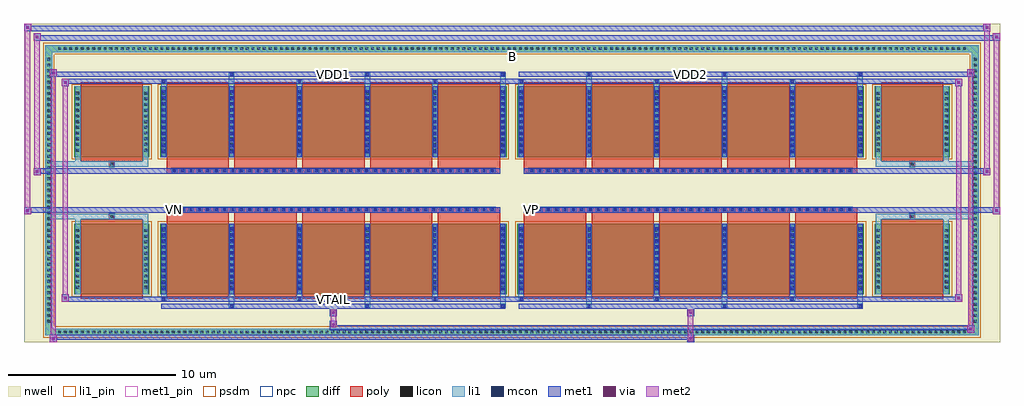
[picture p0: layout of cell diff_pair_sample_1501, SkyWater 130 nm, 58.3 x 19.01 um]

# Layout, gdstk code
import gdstk
lib = gdstk.Library(unit=1e-6, precision=5e-09)
def R(c, l, rs):  # rectangles x0, y0, x1, y1
    for r in rs: c.add(gdstk.rectangle(r[:2], r[2:], *l))
def A(c, l, x, y, w, h, nx, ny, dx, dy):  # array of equal rectangles
    R(c, l, [(x+i*dx, y+j*dy, x+i*dx+w, y+j*dy+h) for i in range(nx) for j in range(ny)])
def P(c, l, *ps):  # polygons
    for p in ps: c.add(gdstk.Polygon(p, *l))
nwell = (64, 20)
diff = (65, 20)
poly = (66, 20)
licon = (66, 44)
li1_pin = (67, 16)
li1 = (67, 20)
mcon = (67, 44)
met1_pin = (68, 16)
met1 = (68, 20)
via = (68, 44)
met2 = (69, 20)
psdm = (94, 20)
npc = (95, 20)

diff_pair_sample_1501 = lib.new_cell('diff_pair_sample_1501')
R(diff_pair_sample_1501, nwell, [(-29.15,-9.07,29.15,9.94), (-26.47,-7.26,-0.01,-0.8), (0.01,-7.26,26.47,-0.8), (-26.47,0.8,-0.01,7.26), (0.01,0.8,26.47,7.26)])
A(diff_pair_sample_1501, diff, -27.235, -8.67, 0.41, 0.41, 160, 2, 0.34, 16.93)
A(diff_pair_sample_1501, diff, -27.88, -8.025, 0.41, 0.41, 1, 47, 0, 0.34)
A(diff_pair_sample_1501, diff, 27.47, -8.025, 0.41, 0.41, 1, 47, 0, 0.34)
R(diff_pair_sample_1501, diff, [(-27.235,-8.67,27.235,-8.26), (-27.88,-8.025,-27.47,8.025), (27.47,-8.025,27.88,8.025), (-26.16,-6.215,-21.66,-1.985), (-21.02,-6.215,-0.32,-1.985), (0.32,-6.215,21.02,-1.985), (21.66,-6.215,26.16,-1.985), (-26.16,1.985,-21.66,6.215), (-21.02,1.985,-0.32,6.215), (0.32,1.985,21.02,6.215), (21.66,1.985,26.16,6.215), (-27.235,8.26,27.235,8.67)])
P(diff_pair_sample_1501, diff, [(27.88,8.67),(-27.88,8.67),(-27.88,-8.26),(-27.47,-8.26),(-27.47,8.26),(27.47,8.26),(27.47,-8.26),(-27.47,-8.26),(-27.88,-8.26),(-27.88,-8.67),(27.88,-8.67)])
A(diff_pair_sample_1501, poly, -20.63, -6.465, 3.72, 4.73, 5, 2, 4.05, 8.2)
A(diff_pair_sample_1501, poly, 0.71, -6.465, 3.72, 4.73, 5, 2, 4.05, 8.2)
A(diff_pair_sample_1501, poly, -20.63, -1.735, 3.72, 0.405, 5, 2, 4.05, 3.065)
A(diff_pair_sample_1501, poly, 0.71, -1.735, 3.72, 0.405, 5, 2, 4.05, 3.065)
A(diff_pair_sample_1501, poly, -20.335, -1.33, 0.33, 0.33, 39, 2, 0.5, 2.33)
A(diff_pair_sample_1501, poly, 1.005, -1.33, 0.33, 0.33, 39, 2, 0.5, 2.33)
R(diff_pair_sample_1501, poly, [(-25.77,-6.465,-22.05,-1.735), (22.05,-6.465,25.77,-1.735), (-24.075,-1.735,-23.745,-1.405), (-24.075,-1.735,-23.745,-1.405), (23.745,-1.735,24.075,-1.405), (23.745,-1.735,24.075,-1.405), (-20.63,-1.33,-0.71,-1), (0.71,-1.33,20.63,-1), (-20.63,1,-0.71,1.33), (0.71,1,20.63,1.33), (-24.075,1.405,-23.745,1.735), (-24.075,1.405,-23.745,1.735), (23.745,1.405,24.075,1.735), (23.745,1.405,24.075,1.735), (-25.77,1.735,-22.05,6.465), (22.05,1.735,25.77,6.465)])
A(diff_pair_sample_1501, licon, -27.115, -8.55, 0.17, 0.17, 160, 2, 0.34, 16.93)
A(diff_pair_sample_1501, licon, -27.76, -7.905, 0.17, 0.17, 1, 47, 0, 0.34)
A(diff_pair_sample_1501, licon, 27.59, -7.905, 0.17, 0.17, 1, 47, 0, 0.34)
A(diff_pair_sample_1501, licon, -26.02, -5.885, 0.17, 0.17, 1, 11, 0, 0.34)
A(diff_pair_sample_1501, licon, -21.97, -5.885, 0.17, 0.17, 1, 11, 0, 0.34)
A(diff_pair_sample_1501, licon, -20.88, -5.885, 0.17, 0.17, 6, 11, 4.05, 0.34)
A(diff_pair_sample_1501, licon, 0.46, -5.885, 0.17, 0.17, 6, 11, 4.05, 0.34)
A(diff_pair_sample_1501, licon, 21.8, -5.885, 0.17, 0.17, 1, 11, 0, 0.34)
A(diff_pair_sample_1501, licon, 25.85, -5.885, 0.17, 0.17, 1, 11, 0, 0.34)
A(diff_pair_sample_1501, licon, -20.255, -1.25, 0.17, 0.17, 39, 2, 0.5, 2.33)
A(diff_pair_sample_1501, licon, 1.085, -1.25, 0.17, 0.17, 39, 2, 0.5, 2.33)
A(diff_pair_sample_1501, licon, -26.02, 2.315, 0.17, 0.17, 1, 11, 0, 0.34)
A(diff_pair_sample_1501, licon, -21.97, 2.315, 0.17, 0.17, 1, 11, 0, 0.34)
A(diff_pair_sample_1501, licon, -20.88, 2.315, 0.17, 0.17, 6, 11, 4.05, 0.34)
A(diff_pair_sample_1501, licon, 0.46, 2.315, 0.17, 0.17, 6, 11, 4.05, 0.34)
A(diff_pair_sample_1501, licon, 21.8, 2.315, 0.17, 0.17, 1, 11, 0, 0.34)
A(diff_pair_sample_1501, licon, 25.85, 2.315, 0.17, 0.17, 1, 11, 0, 0.34)
R(diff_pair_sample_1501, licon, [(-23.995,-1.655,-23.825,-1.485), (23.825,-1.655,23.995,-1.485), (-23.995,1.485,-23.825,1.655), (23.825,1.485,23.995,1.655)])
R(diff_pair_sample_1501, li1_pin, [(-0.25,7.76,0.25,8.26)])
A(diff_pair_sample_1501, li1, -27.195, -8.63, 0.33, 0.33, 160, 2, 0.34, 16.93)
A(diff_pair_sample_1501, li1, -27.84, -7.985, 0.33, 0.33, 1, 47, 0, 0.34)
A(diff_pair_sample_1501, li1, 27.51, -7.985, 0.33, 0.33, 1, 47, 0, 0.34)
A(diff_pair_sample_1501, li1, -16.91, -7.02, 0.33, 0.805, 3, 2, 8.1, 13.235)
A(diff_pair_sample_1501, li1, -16.83, -7.02, 0.17, 0.17, 3, 2, 8.1, 13.87)
A(diff_pair_sample_1501, li1, 4.43, -7.02, 0.33, 0.805, 3, 2, 8.1, 13.235)
A(diff_pair_sample_1501, li1, 4.51, -7.02, 0.17, 0.17, 3, 2, 8.1, 13.87)
A(diff_pair_sample_1501, li1, -20.96, -6.59, 0.33, 0.375, 3, 2, 8.1, 12.805)
A(diff_pair_sample_1501, li1, -20.88, -6.59, 0.17, 0.17, 3, 2, 8.1, 13.01)
A(diff_pair_sample_1501, li1, 0.38, -6.59, 0.33, 0.375, 3, 2, 8.1, 12.805)
A(diff_pair_sample_1501, li1, 0.46, -6.59, 0.17, 0.17, 3, 2, 8.1, 13.01)
A(diff_pair_sample_1501, li1, -20.96, -6.215, 0.33, 4.23, 6, 2, 4.05, 8.2)
A(diff_pair_sample_1501, li1, 0.38, -6.215, 0.33, 4.23, 6, 2, 4.05, 8.2)
A(diff_pair_sample_1501, li1, -20.88, -5.985, 0.17, 0.17, 6, 11, 4.05, 0.36)
A(diff_pair_sample_1501, li1, -20.88, -5.985, 0.17, 3.77, 6, 2, 4.05, 8.2)
A(diff_pair_sample_1501, li1, 0.46, -5.985, 0.17, 0.17, 6, 11, 4.05, 0.36)
A(diff_pair_sample_1501, li1, 0.46, -5.985, 0.17, 3.77, 6, 2, 4.05, 8.2)
A(diff_pair_sample_1501, li1, -26.1, -5.965, 0.33, 0.33, 1, 11, 0, 0.34)
A(diff_pair_sample_1501, li1, -22.05, -5.965, 0.33, 0.33, 1, 11, 0, 0.34)
A(diff_pair_sample_1501, li1, -20.96, -5.965, 0.33, 0.33, 6, 11, 4.05, 0.34)
A(diff_pair_sample_1501, li1, 0.38, -5.965, 0.33, 0.33, 6, 11, 4.05, 0.34)
A(diff_pair_sample_1501, li1, 21.72, -5.965, 0.33, 0.33, 1, 11, 0, 0.34)
A(diff_pair_sample_1501, li1, 25.77, -5.965, 0.33, 0.33, 1, 11, 0, 0.34)
A(diff_pair_sample_1501, li1, -20.335, -1.33, 0.33, 0.33, 39, 2, 0.5, 2.33)
A(diff_pair_sample_1501, li1, 1.005, -1.33, 0.33, 0.33, 39, 2, 0.5, 2.33)
A(diff_pair_sample_1501, li1, -20.88, 2.215, 0.17, 0.17, 6, 11, 4.05, 0.36)
A(diff_pair_sample_1501, li1, 0.46, 2.215, 0.17, 0.17, 6, 11, 4.05, 0.36)
A(diff_pair_sample_1501, li1, -26.1, 2.235, 0.33, 0.33, 1, 11, 0, 0.34)
A(diff_pair_sample_1501, li1, -22.05, 2.235, 0.33, 0.33, 1, 11, 0, 0.34)
A(diff_pair_sample_1501, li1, -20.96, 2.235, 0.33, 0.33, 6, 11, 4.05, 0.34)
A(diff_pair_sample_1501, li1, 0.38, 2.235, 0.33, 0.33, 6, 11, 4.05, 0.34)
A(diff_pair_sample_1501, li1, 21.72, 2.235, 0.33, 0.33, 1, 11, 0, 0.34)
A(diff_pair_sample_1501, li1, 25.77, 2.235, 0.33, 0.33, 1, 11, 0, 0.34)
R(diff_pair_sample_1501, li1, [(-27.88,-8.67,-27.47,-8.26), (-27.88,-8.67,-27.47,-8.26), (-27.47,-8.67,27.47,-8.26), (27.47,-8.67,27.88,-8.26), (27.47,-8.67,27.88,-8.26), (-27.88,-8.26,-27.47,8.26), (27.47,-8.26,27.88,8.26), (-26.1,-6.215,-25.77,-1.985), (-22.05,-6.215,-21.72,-1.985), (21.72,-6.215,22.05,-1.985), (25.77,-6.215,26.1,-1.985), (-26.1,-1.985,-25.77,-1.405), (-22.05,-1.985,-21.72,-1.405), (21.72,-1.985,22.05,-1.405), (25.77,-1.985,26.1,-1.405), (-27.88,-1.735,-24.075,-1.405), (-26.1,-1.735,-24.075,-1.405), (-24.075,-1.735,-23.745,-1.405), (-23.745,-1.735,-21.72,-1.405), (21.72,-1.735,23.745,-1.405), (23.745,-1.735,24.075,-1.405), (23.745,-1.735,27.88,-1.405), (24.075,-1.735,26.1,-1.405), (-27.88,1.405,-24.075,1.735), (-26.1,1.405,-24.075,1.735), (-26.1,1.405,-25.77,1.985), (-24.075,1.405,-23.745,1.735), (-23.745,1.405,-21.72,1.735), (-22.05,1.405,-21.72,1.985), (21.72,1.405,23.745,1.735), (21.72,1.405,22.05,1.985), (23.745,1.405,24.075,1.735), (23.745,1.405,27.88,1.735), (24.075,1.405,26.1,1.735), (25.77,1.405,26.1,1.985), (-26.1,1.985,-25.77,6.215), (-22.05,1.985,-21.72,6.215), (21.72,1.985,22.05,6.215), (25.77,1.985,26.1,6.215), (-27.88,8.26,-27.47,8.67), (-27.88,8.26,-27.47,8.67), (-27.47,8.26,27.47,8.67), (27.47,8.26,27.88,8.67), (27.47,8.26,27.88,8.67)])
A(diff_pair_sample_1501, mcon, -16.83, -7.02, 0.17, 0.17, 3, 2, 8.1, 13.87)
A(diff_pair_sample_1501, mcon, 4.51, -7.02, 0.17, 0.17, 3, 2, 8.1, 13.87)
A(diff_pair_sample_1501, mcon, -20.88, -6.59, 0.17, 0.17, 3, 2, 8.1, 13.01)
A(diff_pair_sample_1501, mcon, 0.46, -6.59, 0.17, 0.17, 3, 2, 8.1, 13.01)
A(diff_pair_sample_1501, mcon, -20.88, -5.985, 0.17, 0.17, 6, 11, 4.05, 0.36)
A(diff_pair_sample_1501, mcon, 0.46, -5.985, 0.17, 0.17, 6, 11, 4.05, 0.36)
A(diff_pair_sample_1501, mcon, -20.255, -1.25, 0.17, 0.17, 39, 2, 0.5, 2.33)
A(diff_pair_sample_1501, mcon, 1.085, -1.25, 0.17, 0.17, 39, 2, 0.5, 2.33)
A(diff_pair_sample_1501, mcon, -20.88, 2.215, 0.17, 0.17, 6, 11, 4.05, 0.36)
A(diff_pair_sample_1501, mcon, 0.46, 2.215, 0.17, 0.17, 6, 11, 4.05, 0.36)
R(diff_pair_sample_1501, met1_pin, [(-10.805,-6.63,-10.535,-6.36), (-20.305,-1.29,-20.035,-1.02), (1.035,-1.29,1.305,-1.02), (-10.805,6.81,-10.535,7.08), (10.535,6.81,10.805,7.08)])
A(diff_pair_sample_1501, met1, -16.89, -7.08, 0.29, 0.29, 3, 2, 8.1, 13.87)
A(diff_pair_sample_1501, met1, 4.45, -7.08, 0.29, 0.29, 3, 2, 8.1, 13.87)
A(diff_pair_sample_1501, met1, -20.94, -6.65, 0.29, 0.29, 3, 2, 8.1, 13.01)
A(diff_pair_sample_1501, met1, 0.4, -6.65, 0.29, 0.29, 3, 2, 8.1, 13.01)
A(diff_pair_sample_1501, met1, -20.94, -6.215, 0.29, 4.23, 6, 2, 4.05, 8.2)
A(diff_pair_sample_1501, met1, 0.4, -6.215, 0.29, 4.23, 6, 2, 4.05, 8.2)
A(diff_pair_sample_1501, met1, -20.94, -6.045, 0.29, 0.29, 6, 11, 4.05, 0.36)
A(diff_pair_sample_1501, met1, 0.4, -6.045, 0.29, 0.29, 6, 11, 4.05, 0.36)
A(diff_pair_sample_1501, met1, -20.315, -1.31, 0.29, 0.29, 39, 2, 0.5, 2.33)
A(diff_pair_sample_1501, met1, 1.025, -1.31, 0.29, 0.29, 39, 2, 0.5, 2.33)
A(diff_pair_sample_1501, met1, -20.94, 2.155, 0.29, 0.29, 6, 11, 4.05, 0.36)
A(diff_pair_sample_1501, met1, 0.4, 2.155, 0.29, 0.29, 6, 11, 4.05, 0.36)
R(diff_pair_sample_1501, met1, [(-27.61,-9.07,-27.18,-8.64), (10.455,-9.07,10.885,-8.64), (-27.61,-8.93,10.885,-8.64), (27.18,-8.5,27.61,-8.07), (-10.885,-8.36,27.61,-8.07), (-10.885,-8.22,-10.455,-7.79), (-10.885,-7.51,-10.455,-7.08), (10.455,-7.51,10.885,-7.08), (-20.94,-7.08,-0.4,-6.79), (0.4,-7.08,20.94,-6.79), (-26.9,-6.65,-26.47,-6.22), (-26.9,-6.65,-20.94,-6.36), (-20.94,-6.65,-0.4,-6.36), (-0.4,-6.65,0.4,-6.36), (0.4,-6.65,20.94,-6.36), (20.94,-6.65,26.9,-6.36), (26.47,-6.65,26.9,-6.22), (-29.15,-1.43,-28.72,-1), (28.72,-1.43,29.15,-1), (-29.15,-1.33,-0.71,-1), (-20.63,-1.33,-0.71,-1), (0.71,-1.33,20.63,-1), (0.71,-1.33,29.15,-1), (-28.58,0.9,-28.15,1.33), (28.15,0.9,28.58,1.33), (-28.58,1,-20.63,1.33), (-20.63,1,-0.71,1.33), (0.71,1,20.63,1.33), (20.63,1,28.58,1.33), (-26.9,6.22,-26.47,6.65), (26.47,6.22,26.9,6.65), (-26.9,6.36,-20.94,6.65), (-20.94,6.36,-0.4,6.65), (-0.4,6.36,0.4,6.65), (0.4,6.36,20.94,6.65), (20.94,6.36,26.9,6.65), (-27.61,6.79,-27.18,7.22), (-27.61,6.79,-20.94,7.08), (-20.94,6.79,-0.4,7.08), (0.4,6.79,20.94,7.08), (20.94,6.79,27.61,7.08), (27.18,6.79,27.61,7.22), (-28.58,8.94,-28.15,9.37), (-28.58,8.94,-26.47,9.27), (-26.47,8.94,26.47,9.27), (26.47,8.94,29.15,9.27), (28.72,8.94,29.15,9.37), (-29.15,9.51,-28.72,9.94), (-29.15,9.51,-26.47,9.84), (-26.47,9.51,26.47,9.84), (26.47,9.51,28.58,9.84), (28.15,9.51,28.58,9.94)])
R(diff_pair_sample_1501, via, [(-27.47,-8.93,-27.32,-8.78), (10.595,-8.93,10.745,-8.78), (27.32,-8.36,27.47,-8.21), (-10.745,-8.08,-10.595,-7.93), (-10.745,-7.37,-10.595,-7.22), (10.595,-7.37,10.745,-7.22), (-26.76,-6.51,-26.61,-6.36), (26.61,-6.51,26.76,-6.36), (-29.01,-1.29,-28.86,-1.14), (28.86,-1.29,29.01,-1.14), (-28.44,1.04,-28.29,1.19), (28.29,1.04,28.44,1.19), (-26.76,6.36,-26.61,6.51), (26.61,6.36,26.76,6.51), (-27.47,6.93,-27.32,7.08), (27.32,6.93,27.47,7.08), (-28.44,9.08,-28.29,9.23), (28.86,9.08,29.01,9.23), (-29.01,9.65,-28.86,9.8), (28.29,9.65,28.44,9.8)])
R(diff_pair_sample_1501, met2, [(-27.61,-9.07,-27.18,-8.64), (-27.54,-9.07,-27.25,7.22), (-27.25,-9.07,-27.18,-8.64), (-27.56,-9.02,-27.23,-8.69), (10.505,-9.02,10.835,-8.69), (10.505,-8.69,10.835,-7.46), (27.18,-8.5,27.61,-8.07), (27.25,-8.5,27.54,7.22), (27.54,-8.5,27.61,-8.07), (27.23,-8.45,27.56,-8.12), (-10.835,-8.17,-10.505,-7.84), (-10.835,-7.84,-10.505,-7.46), (-10.835,-7.46,-10.505,-7.13), (10.505,-7.46,10.835,-7.13), (-26.9,-6.65,-26.47,-6.22), (-26.83,-6.65,-26.54,6.65), (-26.54,-6.65,-26.47,-6.22), (26.47,-6.65,26.9,-6.22), (26.54,-6.65,26.83,6.65), (26.83,-6.65,26.9,-6.22), (-26.85,-6.6,-26.52,-6.27), (26.52,-6.6,26.85,-6.27), (-29.15,-1.43,-28.72,-1), (-29.1,-1.43,-28.77,9.94), (-28.77,-1.43,-28.72,-1), (28.72,-1.43,29.15,-1), (28.77,-1.43,29.1,9.37), (29.1,-1.43,29.15,-1), (-29.1,-1.38,-28.77,-1.05), (28.77,-1.38,29.1,-1.05), (-28.58,0.9,-28.15,1.33), (-28.53,0.9,-28.2,9.37), (-28.2,0.9,-28.15,1.33), (28.15,0.9,28.58,1.33), (28.2,0.9,28.53,9.94), (28.53,0.9,28.58,1.33), (-28.53,0.95,-28.2,1.28), (28.2,0.95,28.53,1.28), (-26.9,6.22,-26.47,6.65), (-26.54,6.22,-26.47,6.65), (26.47,6.22,26.9,6.65), (26.83,6.22,26.9,6.65), (-26.85,6.27,-26.52,6.6), (26.52,6.27,26.85,6.6), (-27.61,6.79,-27.18,7.22), (-27.25,6.79,-27.18,7.22), (27.18,6.79,27.61,7.22), (27.54,6.79,27.61,7.22), (-27.56,6.84,-27.23,7.17), (27.23,6.84,27.56,7.17), (-28.58,8.94,-28.15,9.37), (-28.2,8.94,-28.15,9.37), (28.72,8.94,29.15,9.37), (29.1,8.94,29.15,9.37), (-28.53,8.99,-28.2,9.32), (28.77,8.99,29.1,9.32), (-29.15,9.51,-28.72,9.94), (-28.77,9.51,-28.72,9.94), (28.15,9.51,28.58,9.94), (28.53,9.51,28.58,9.94), (-29.1,9.56,-28.77,9.89), (28.2,9.56,28.53,9.89)])
R(diff_pair_sample_1501, psdm, [(-26.29,-6.345,-21.53,-1.855), (-21.15,-6.345,-0.19,-1.855), (0.19,-6.345,21.15,-1.855), (21.53,-6.345,26.29,-1.855), (-26.29,1.855,-21.53,6.345), (-21.15,1.855,-0.19,6.345), (0.19,1.855,21.15,6.345), (21.53,1.855,26.29,6.345)])
P(diff_pair_sample_1501, psdm, [(28.01,8.8),(-28.01,8.8),(-28.01,-8.13),(-27.34,-8.13),(-27.34,8.13),(27.34,8.13),(27.34,-8.13),(-27.34,-8.13),(-28.01,-8.13),(-28.01,-8.8),(28.01,-8.8)])
A(diff_pair_sample_1501, npc, -20.355, -1.35, 0.37, 0.37, 39, 2, 0.5, 2.33)
A(diff_pair_sample_1501, npc, 0.985, -1.35, 0.37, 0.37, 39, 2, 0.5, 2.33)
R(diff_pair_sample_1501, npc, [(-24.095,-1.755,-23.725,-1.385), (23.725,-1.755,24.095,-1.385), (-20.355,-1.35,-19.485,-0.98), (-20.355,-1.35,-19.485,-0.98), (-19.855,-1.35,-18.985,-0.98), (-19.855,-1.35,-18.985,-0.98), (-19.355,-1.35,-18.485,-0.98), (-19.355,-1.35,-18.485,-0.98), (-18.855,-1.35,-17.985,-0.98), (-18.855,-1.35,-17.985,-0.98), (-18.355,-1.35,-17.485,-0.98), (-18.355,-1.35,-17.485,-0.98), (-17.855,-1.35,-16.985,-0.98), (-17.855,-1.35,-16.985,-0.98), (-17.355,-1.35,-16.485,-0.98), (-17.355,-1.35,-16.485,-0.98), (-16.855,-1.35,-15.985,-0.98), (-16.855,-1.35,-15.985,-0.98), (-16.355,-1.35,-15.485,-0.98), (-16.355,-1.35,-15.485,-0.98), (-15.855,-1.35,-14.985,-0.98), (-15.855,-1.35,-14.985,-0.98), (-15.355,-1.35,-14.485,-0.98), (-15.355,-1.35,-14.485,-0.98), (-14.855,-1.35,-13.985,-0.98), (-14.855,-1.35,-13.985,-0.98), (-14.355,-1.35,-13.485,-0.98), (-14.355,-1.35,-13.485,-0.98), (-13.855,-1.35,-12.985,-0.98), (-13.855,-1.35,-12.985,-0.98), (-13.355,-1.35,-12.485,-0.98), (-13.355,-1.35,-12.485,-0.98), (-12.855,-1.35,-11.985,-0.98), (-12.855,-1.35,-11.985,-0.98), (-12.355,-1.35,-11.485,-0.98), (-12.355,-1.35,-11.485,-0.98), (-11.855,-1.35,-10.985,-0.98), (-11.855,-1.35,-10.985,-0.98), (-11.355,-1.35,-10.485,-0.98), (-11.355,-1.35,-10.485,-0.98), (-10.855,-1.35,-9.985,-0.98), (-10.855,-1.35,-9.985,-0.98), (-10.355,-1.35,-9.485,-0.98), (-10.355,-1.35,-9.485,-0.98), (-9.855,-1.35,-8.985,-0.98), (-9.855,-1.35,-8.985,-0.98), (-9.355,-1.35,-8.485,-0.98), (-9.355,-1.35,-8.485,-0.98), (-8.855,-1.35,-7.985,-0.98), (-8.855,-1.35,-7.985,-0.98), (-8.355,-1.35,-7.485,-0.98), (-8.355,-1.35,-7.485,-0.98), (-7.855,-1.35,-6.985,-0.98), (-7.855,-1.35,-6.985,-0.98), (-7.355,-1.35,-6.485,-0.98), (-7.355,-1.35,-6.485,-0.98), (-6.855,-1.35,-5.985,-0.98), (-6.855,-1.35,-5.985,-0.98), (-6.355,-1.35,-5.485,-0.98), (-6.355,-1.35,-5.485,-0.98), (-5.855,-1.35,-4.985,-0.98), (-5.855,-1.35,-4.985,-0.98), (-5.355,-1.35,-4.485,-0.98), (-5.355,-1.35,-4.485,-0.98), (-4.855,-1.35,-3.985,-0.98), (-4.855,-1.35,-3.985,-0.98), (-4.355,-1.35,-3.485,-0.98), (-4.355,-1.35,-3.485,-0.98), (-3.855,-1.35,-2.985,-0.98), (-3.855,-1.35,-2.985,-0.98), (-3.355,-1.35,-2.485,-0.98), (-3.355,-1.35,-2.485,-0.98), (-2.855,-1.35,-1.985,-0.98), (-2.855,-1.35,-1.985,-0.98), (-2.355,-1.35,-1.485,-0.98), (-2.355,-1.35,-1.485,-0.98), (-1.855,-1.35,-0.985,-0.98), (-1.855,-1.35,-0.985,-0.98), (0.985,-1.35,1.855,-0.98), (0.985,-1.35,1.855,-0.98), (1.485,-1.35,2.355,-0.98), (1.485,-1.35,2.355,-0.98), (1.985,-1.35,2.855,-0.98), (1.985,-1.35,2.855,-0.98), (2.485,-1.35,3.355,-0.98), (2.485,-1.35,3.355,-0.98), (2.985,-1.35,3.855,-0.98), (2.985,-1.35,3.855,-0.98), (3.485,-1.35,4.355,-0.98), (3.485,-1.35,4.355,-0.98), (3.985,-1.35,4.855,-0.98), (3.985,-1.35,4.855,-0.98), (4.485,-1.35,5.355,-0.98), (4.485,-1.35,5.355,-0.98), (4.985,-1.35,5.855,-0.98), (4.985,-1.35,5.855,-0.98), (5.485,-1.35,6.355,-0.98), (5.485,-1.35,6.355,-0.98), (5.985,-1.35,6.855,-0.98), (5.985,-1.35,6.855,-0.98), (6.485,-1.35,7.355,-0.98), (6.485,-1.35,7.355,-0.98), (6.985,-1.35,7.855,-0.98), (6.985,-1.35,7.855,-0.98), (7.485,-1.35,8.355,-0.98), (7.485,-1.35,8.355,-0.98), (7.985,-1.35,8.855,-0.98), (7.985,-1.35,8.855,-0.98), (8.485,-1.35,9.355,-0.98), (8.485,-1.35,9.355,-0.98), (8.985,-1.35,9.855,-0.98), (8.985,-1.35,9.855,-0.98), (9.485,-1.35,10.355,-0.98), (9.485,-1.35,10.355,-0.98), (9.985,-1.35,10.855,-0.98), (9.985,-1.35,10.855,-0.98), (10.485,-1.35,11.355,-0.98), (10.485,-1.35,11.355,-0.98), (10.985,-1.35,11.855,-0.98), (10.985,-1.35,11.855,-0.98), (11.485,-1.35,12.355,-0.98), (11.485,-1.35,12.355,-0.98), (11.985,-1.35,12.855,-0.98), (11.985,-1.35,12.855,-0.98), (12.485,-1.35,13.355,-0.98), (12.485,-1.35,13.355,-0.98), (12.985,-1.35,13.855,-0.98), (12.985,-1.35,13.855,-0.98), (13.485,-1.35,14.355,-0.98), (13.485,-1.35,14.355,-0.98), (13.985,-1.35,14.855,-0.98), (13.985,-1.35,14.855,-0.98), (14.485,-1.35,15.355,-0.98), (14.485,-1.35,15.355,-0.98), (14.985,-1.35,15.855,-0.98), (14.985,-1.35,15.855,-0.98), (15.485,-1.35,16.355,-0.98), (15.485,-1.35,16.355,-0.98), (15.985,-1.35,16.855,-0.98), (15.985,-1.35,16.855,-0.98), (16.485,-1.35,17.355,-0.98), (16.485,-1.35,17.355,-0.98), (16.985,-1.35,17.855,-0.98), (16.985,-1.35,17.855,-0.98), (17.485,-1.35,18.355,-0.98), (17.485,-1.35,18.355,-0.98), (17.985,-1.35,18.855,-0.98), (17.985,-1.35,18.855,-0.98), (18.485,-1.35,19.355,-0.98), (18.485,-1.35,19.355,-0.98), (18.985,-1.35,19.855,-0.98), (18.985,-1.35,19.855,-0.98), (19.485,-1.35,20.355,-0.98), (19.485,-1.35,20.355,-0.98), (-20.355,0.98,-19.485,1.35), (-20.355,0.98,-19.485,1.35), (-19.855,0.98,-18.985,1.35), (-19.855,0.98,-18.985,1.35), (-19.355,0.98,-18.485,1.35), (-19.355,0.98,-18.485,1.35), (-18.855,0.98,-17.985,1.35), (-18.855,0.98,-17.985,1.35), (-18.355,0.98,-17.485,1.35), (-18.355,0.98,-17.485,1.35), (-17.855,0.98,-16.985,1.35), (-17.855,0.98,-16.985,1.35), (-17.355,0.98,-16.485,1.35), (-17.355,0.98,-16.485,1.35), (-16.855,0.98,-15.985,1.35), (-16.855,0.98,-15.985,1.35), (-16.355,0.98,-15.485,1.35), (-16.355,0.98,-15.485,1.35), (-15.855,0.98,-14.985,1.35), (-15.855,0.98,-14.985,1.35), (-15.355,0.98,-14.485,1.35), (-15.355,0.98,-14.485,1.35), (-14.855,0.98,-13.985,1.35), (-14.855,0.98,-13.985,1.35), (-14.355,0.98,-13.485,1.35), (-14.355,0.98,-13.485,1.35), (-13.855,0.98,-12.985,1.35), (-13.855,0.98,-12.985,1.35), (-13.355,0.98,-12.485,1.35), (-13.355,0.98,-12.485,1.35), (-12.855,0.98,-11.985,1.35), (-12.855,0.98,-11.985,1.35), (-12.355,0.98,-11.485,1.35), (-12.355,0.98,-11.485,1.35), (-11.855,0.98,-10.985,1.35), (-11.855,0.98,-10.985,1.35), (-11.355,0.98,-10.485,1.35), (-11.355,0.98,-10.485,1.35), (-10.855,0.98,-9.985,1.35), (-10.855,0.98,-9.985,1.35), (-10.355,0.98,-9.485,1.35), (-10.355,0.98,-9.485,1.35), (-9.855,0.98,-8.985,1.35), (-9.855,0.98,-8.985,1.35), (-9.355,0.98,-8.485,1.35), (-9.355,0.98,-8.485,1.35), (-8.855,0.98,-7.985,1.35), (-8.855,0.98,-7.985,1.35), (-8.355,0.98,-7.485,1.35), (-8.355,0.98,-7.485,1.35), (-7.855,0.98,-6.985,1.35), (-7.855,0.98,-6.985,1.35), (-7.355,0.98,-6.485,1.35), (-7.355,0.98,-6.485,1.35), (-6.855,0.98,-5.985,1.35), (-6.855,0.98,-5.985,1.35), (-6.355,0.98,-5.485,1.35), (-6.355,0.98,-5.485,1.35), (-5.855,0.98,-4.985,1.35), (-5.855,0.98,-4.985,1.35), (-5.355,0.98,-4.485,1.35), (-5.355,0.98,-4.485,1.35), (-4.855,0.98,-3.985,1.35), (-4.855,0.98,-3.985,1.35), (-4.355,0.98,-3.485,1.35), (-4.355,0.98,-3.485,1.35), (-3.855,0.98,-2.985,1.35), (-3.855,0.98,-2.985,1.35), (-3.355,0.98,-2.485,1.35), (-3.355,0.98,-2.485,1.35), (-2.855,0.98,-1.985,1.35), (-2.855,0.98,-1.985,1.35), (-2.355,0.98,-1.485,1.35), (-2.355,0.98,-1.485,1.35), (-1.855,0.98,-0.985,1.35), (-1.855,0.98,-0.985,1.35), (0.985,0.98,1.855,1.35), (0.985,0.98,1.855,1.35), (1.485,0.98,2.355,1.35), (1.485,0.98,2.355,1.35), (1.985,0.98,2.855,1.35), (1.985,0.98,2.855,1.35), (2.485,0.98,3.355,1.35), (2.485,0.98,3.355,1.35), (2.985,0.98,3.855,1.35), (2.985,0.98,3.855,1.35), (3.485,0.98,4.355,1.35), (3.485,0.98,4.355,1.35), (3.985,0.98,4.855,1.35), (3.985,0.98,4.855,1.35), (4.485,0.98,5.355,1.35), (4.485,0.98,5.355,1.35), (4.985,0.98,5.855,1.35), (4.985,0.98,5.855,1.35), (5.485,0.98,6.355,1.35), (5.485,0.98,6.355,1.35), (5.985,0.98,6.855,1.35), (5.985,0.98,6.855,1.35), (6.485,0.98,7.355,1.35), (6.485,0.98,7.355,1.35), (6.985,0.98,7.855,1.35), (6.985,0.98,7.855,1.35), (7.485,0.98,8.355,1.35), (7.485,0.98,8.355,1.35), (7.985,0.98,8.855,1.35), (7.985,0.98,8.855,1.35), (8.485,0.98,9.355,1.35), (8.485,0.98,9.355,1.35), (8.985,0.98,9.855,1.35), (8.985,0.98,9.855,1.35), (9.485,0.98,10.355,1.35), (9.485,0.98,10.355,1.35), (9.985,0.98,10.855,1.35), (9.985,0.98,10.855,1.35), (10.485,0.98,11.355,1.35), (10.485,0.98,11.355,1.35), (10.985,0.98,11.855,1.35), (10.985,0.98,11.855,1.35), (11.485,0.98,12.355,1.35), (11.485,0.98,12.355,1.35), (11.985,0.98,12.855,1.35), (11.985,0.98,12.855,1.35), (12.485,0.98,13.355,1.35), (12.485,0.98,13.355,1.35), (12.985,0.98,13.855,1.35), (12.985,0.98,13.855,1.35), (13.485,0.98,14.355,1.35), (13.485,0.98,14.355,1.35), (13.985,0.98,14.855,1.35), (13.985,0.98,14.855,1.35), (14.485,0.98,15.355,1.35), (14.485,0.98,15.355,1.35), (14.985,0.98,15.855,1.35), (14.985,0.98,15.855,1.35), (15.485,0.98,16.355,1.35), (15.485,0.98,16.355,1.35), (15.985,0.98,16.855,1.35), (15.985,0.98,16.855,1.35), (16.485,0.98,17.355,1.35), (16.485,0.98,17.355,1.35), (16.985,0.98,17.855,1.35), (16.985,0.98,17.855,1.35), (17.485,0.98,18.355,1.35), (17.485,0.98,18.355,1.35), (17.985,0.98,18.855,1.35), (17.985,0.98,18.855,1.35), (18.485,0.98,19.355,1.35), (18.485,0.98,19.355,1.35), (18.985,0.98,19.855,1.35), (18.985,0.98,19.855,1.35), (19.485,0.98,20.355,1.35), (19.485,0.98,20.355,1.35), (-24.095,1.385,-23.725,1.755), (23.725,1.385,24.095,1.755)])
diff_pair_sample_1501.add(gdstk.Label('VTAIL', (-10.67,-6.495), layer=68, texttype=5))
diff_pair_sample_1501.add(gdstk.Label('VN', (-20.17,-1.155), layer=68, texttype=5))
diff_pair_sample_1501.add(gdstk.Label('VP', (1.17,-1.155), layer=68, texttype=5))
diff_pair_sample_1501.add(gdstk.Label('B', (0,8.01), layer=67, texttype=5))
diff_pair_sample_1501.add(gdstk.Label('VDD2', (10.67,6.945), layer=68, texttype=5))
diff_pair_sample_1501.add(gdstk.Label('VDD1', (-10.67,6.945), layer=68, texttype=5))

lib.write_gds('diff_pair_sample_1501.gds')
